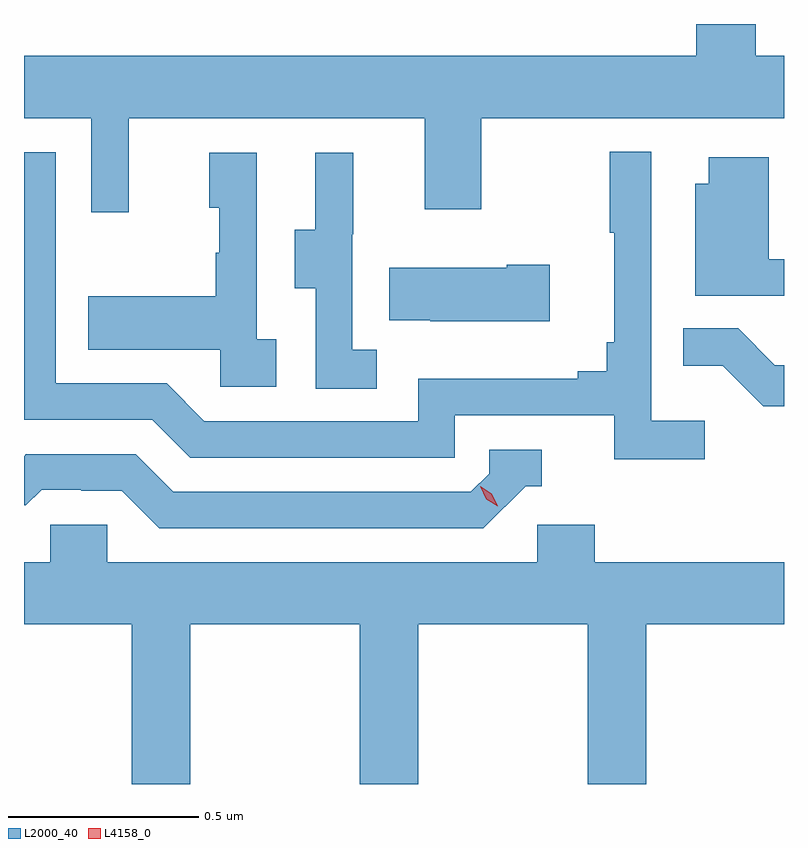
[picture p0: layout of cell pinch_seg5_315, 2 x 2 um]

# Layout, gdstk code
import gdstk
lib = gdstk.Library(unit=1e-6, precision=1e-09)
def P(c, l, *ps):  # polygons
    for p in ps: c.add(gdstk.Polygon(p, *l))
L2000_40 = (2000, 40)
L4158_0 = (4158, 0)

pinch_seg5_315 = lib.new_cell('pinch_seg5_315')
P(pinch_seg5_315, L2000_40, [(898.247,883.4),(899.027,883.4),(899.027,883.161),(899.175,883.161),(899.175,883.4),(899.972,883.4),(899.972,883.564),(899.897,883.564),(899.897,883.648),(899.741,883.648),(899.741,883.564),(897.972,883.564),(897.972,883.4),(898.149,883.4),(898.149,883.152),(898.247,883.152)],
  [(899.764,882.604),(899.622,882.604),(899.622,883.312),(899.514,883.312),(899.514,883.099),(899.525,883.099),(899.525,882.811),(899.506,882.811),(899.506,882.734),(899.429,882.734),(899.429,882.715),(899.01,882.715),(899.01,882.603),(898.446,882.603),(898.347,882.702),(898.056,882.702),(898.056,883.311),(897.972,883.311),(897.972,882.606),(898.31,882.606),(898.409,882.507),(899.106,882.507),(899.106,882.618),(899.525,882.618),(899.525,882.502),(899.764,882.502)],
  [(898.636,882.818),(898.584,882.818),(898.584,883.309),(898.46,883.309),(898.46,883.164),(898.486,883.164),(898.486,883.046),(898.476,883.046),(898.476,882.931),(898.141,882.931),(898.141,882.791),(898.488,882.791),(898.488,882.693),(898.636,882.693)],
  [(898.9,882.791),(898.836,882.791),(898.836,883.095),(898.838,883.095),(898.838,883.309),(898.739,883.309),(898.739,883.107),(898.685,883.107),(898.685,882.952),(898.74,882.952),(898.74,882.688),(898.9,882.688)],
  [(899.972,883.029),(899.932,883.029),(899.932,883.297),(899.774,883.297),(899.774,883.228),(899.738,883.228),(899.738,882.933),(899.972,882.933)],
  [(899.356,883.014),(899.243,883.014),(899.243,883.006),(898.933,883.006),(898.933,882.869),(899.041,882.869),(899.041,882.866),(899.356,882.866)],
  [(899.972,882.75),(899.948,882.75),(899.851,882.847),(899.707,882.847),(899.707,882.749),(899.811,882.749),(899.918,882.642),(899.972,882.642)],
  [(899.292,882.432),(899.335,882.432),(899.335,882.528),(899.196,882.528),(899.196,882.465),(899.148,882.417),(898.365,882.417),(898.266,882.516),(897.977,882.516),(897.972,882.511),(897.972,882.381),(897.977,882.381),(898.019,882.423),(898.122,882.423),(898.122,882.42),(898.229,882.42),(898.328,882.321),(899.181,882.321)],
  [(899.455,881.648),(899.61,881.648),(899.61,882.068),(899.972,882.068),(899.972,882.232),(899.474,882.232),(899.474,882.33),(899.322,882.33),(899.322,882.232),(898.191,882.232),(898.191,882.33),(898.041,882.33),(898.041,882.232),(897.972,882.232),(897.972,882.068),(898.255,882.068),(898.255,881.648),(898.41,881.648),(898.41,882.068),(898.855,882.068),(898.855,881.648),(899.01,881.648),(899.01,882.068),(899.455,882.068)])
P(pinch_seg5_315, L4158_0, [(899.219,882.379),(899.188,882.398),(899.172,882.431),(899.172,882.431),(899.172,882.431),(899.203,882.412),(899.219,882.379),(899.219,882.379)])

lib.write_gds('pinch_seg5_315.gds')
